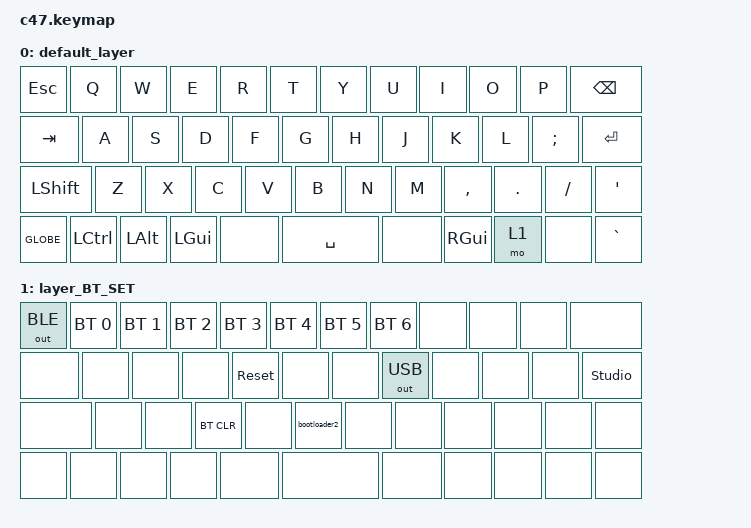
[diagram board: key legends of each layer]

/*
 * Copyright (c) 2020 The ZMK Contributors
 *
 * SPDX-License-Identifier: MIT
 */


/* THIS FILE WAS GENERATED!
 *
 * This file was generated automatically. You may or may not want to
 * edit it directly.
 */

#include <behaviors.dtsi>
#include <dt-bindings/zmk/keys.h>
#include <dt-bindings/zmk/outputs.h>
#include <dt-bindings/zmk/bt.h>

/ {
    behaviors {
        bootloader2: bootload2 {
            compatible = "zmk,behavior-reset";
            type = <0x57>;
            #binding-cells = <0>;
            display-name = "Bootloader";
        };
    };
    keymap {
        compatible = "zmk,keymap";


        default_layer {
            bindings = <
 &kp ESC    &kp Q     &kp W      &kp E     &kp R   &kp T             &kp Y      &kp U      &kp I    &kp O     &kp P    &kp BSPC
 &kp TAB     &kp A     &kp S      &kp D     &kp F   &kp G             &kp H      &kp J      &kp K    &kp L  &kp SEMI    &kp RET
 &kp LSHFT     &kp Z     &kp X      &kp C     &kp V   &kp B             &kp N      &kp M  &kp COMMA  &kp DOT  &kp FSLH   &kp SQT
 &kp GLOBE &kp LCTRL   &kp LALT  &kp LGUI   &none     &kp SPACE   &none   &kp RGUI   &mo 1             &none  &kp GRAVE
            >;
        };

 //        layer_OverLayer {
 //            bindings = <
 // &kp GRAVE    &kp F1    &kp F2     &kp F3  &kp F4  &kp F5                  &kp F6        &kp F7      &kp F8   &kp F9          &kp F10         &kp F11          &kp F12  &kp DEL
 //    &trans    &trans    &kp UP     &trans  &trans  &trans              &kp K_CALC        &trans  &kp INSERT   &trans  &kp PRINTSCREEN  &kp SCROLLLOCK  &kp PAUSE_BREAK   &trans
 //    &trans  &kp LEFT  &kp DOWN  &kp RIGHT  &trans  &trans                  &trans        &trans      &trans   &trans         &kp HOME     &kp PAGE_UP           &trans
 //    &trans    &trans    &trans     &trans  &trans  &trans            &kp K_VOL_DN  &kp C_VOL_UP  &kp K_MUTE  &kp END    &kp PAGE_DOWN          &trans
 //    &trans    &trans    &trans     &trans  &trans  &trans                  &trans        &trans
 //            >;
 //        };

  //       layer_PN_SET {
  //           bindings = <
  // &none   &none   &none   &none   &none   &none            &none   &none   &none   &none   &none   &none   &none   &none
  // &none   &none   &none   &none   &none   &none            &none   &none   &none   &none   &none   &none   &none   &none
  // &none   &none   &none   &none   &none   &none            &none   &none   &none   &none   &none   &none   &none
  // &none   &none   &none   &none   &none  &tog 3            &none   &none   &none   &none   &none   &none
  // &none   &none   &none  &tog 1   &none   &none            &none   &none
  //           >;
  //       };

        layer_BT_SET {
            bindings = <
    &out OUT_BLE  &bt BT_SEL 0  &bt BT_SEL 1  &bt BT_SEL 2  &bt BT_SEL 3  &bt BT_SEL 4            &bt BT_SEL 5         &bt BT_SEL 6   &none   &none   &none   &none
        &none         &none         &none         &none        &sys_reset         &none            &none  &out OUT_USB   &none   &none   &none    &studio_unlock
        &none         &none         &none    &bt BT_CLR         &none   &bootloader2            &none         &none   &none   &none   &none   &none
        &none         &none         &none    &none       &none         &none         &none            &none         &none  &none  &none
            >;
        };

    };
};
